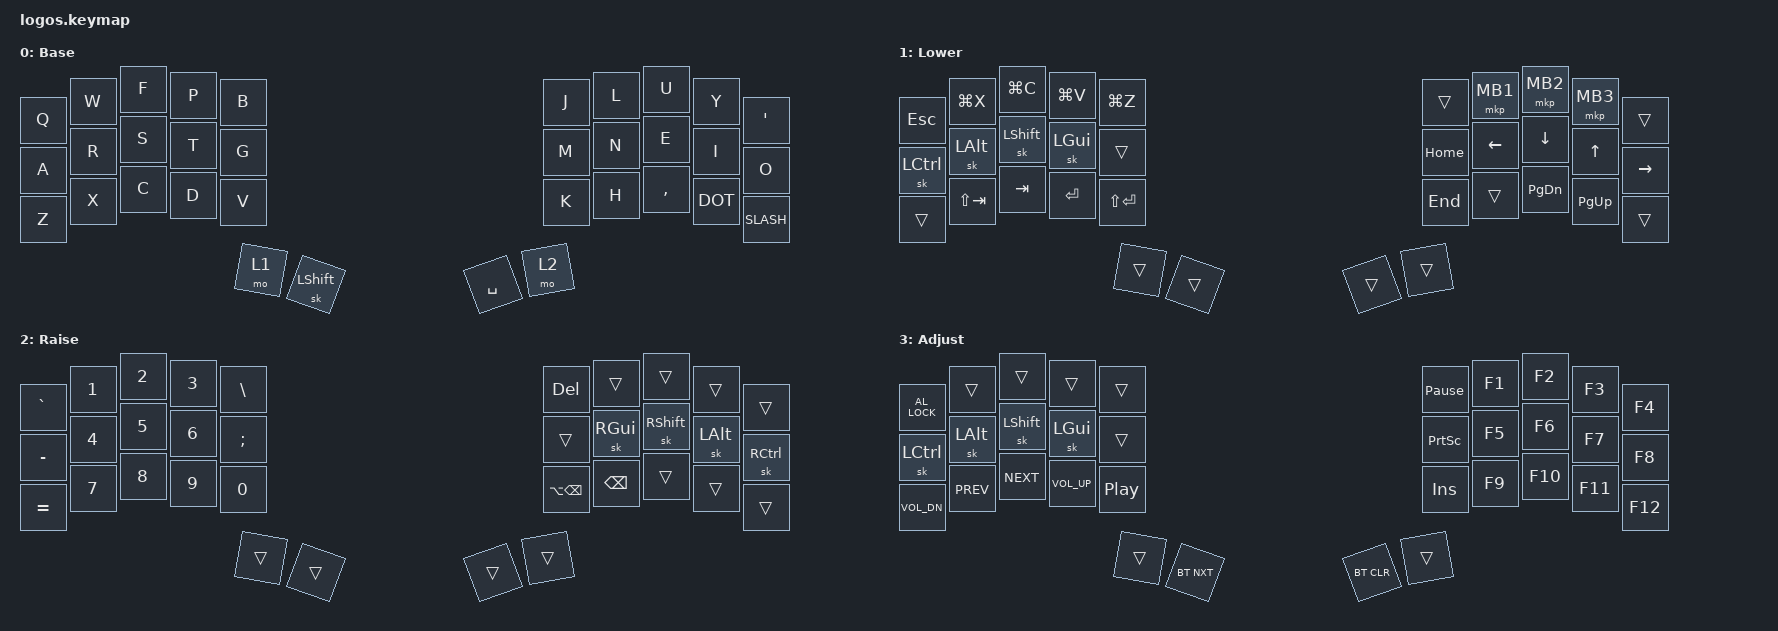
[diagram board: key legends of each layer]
#include <behaviors.dtsi>
#include <dt-bindings/zmk/keys.h>
#include <dt-bindings/zmk/pointing.h>

/ {
    colemak-dh {
        compatible = "zmk,keymap";

        default_layer {
            display-name = "Base";
            bindings = <
                &kp Q   &kp W   &kp F   &kp P   &kp B       &kp J   &kp L   &kp U   &kp Y   &kp APOS
                &kp A   &kp R   &kp S   &kp T   &kp G       &kp M   &kp N   &kp E   &kp I   &kp O
                &kp Z   &kp X   &kp C   &kp D   &kp V       &kp K   &kp H   &kp COMMA    &DOT   &SLASH
                                &mo 1   &sk LSHFT      &kp SPACE   &mo 2
            >;
        };

        lower_layer {
            display-name = "Lower";
            bindings = <
                &kp ESC &kp LG(X) &kp LG(C)    &kp LG(V)   &kp LG(Z)           &trans  &mkp MB1  &mkp MB2  &mkp MB3  &trans
                &sk LCTRL   &sk LALT    &sk LSHFT  &sk LGUI &trans             &kp HOME &kp LEFT &kp DOWN &kp UP &kp RIGHT
                &trans &kp LS(TAB) &kp TAB &kp RET &kp LS(RET)                 &kp END &trans &kp PG_DN &kp PG_UP &trans
                                                          &trans &trans        &trans &trans
            >;
        };

        raise_layer {
            display-name = "Raise";
            bindings = <
                &kp GRAVE  &kp N1  &kp N2  &kp N3  &kp BSLH                     &kp DELETE         &trans  &trans  &trans  &trans
                &kp MINUS  &kp N4  &kp N5  &kp N6  &kp SEMI                    &trans          &sk RGUI        &sk RSHFT        &sk LALT       &sk RCTRL
                &kp EQUAL  &kp N7  &kp N8  &kp N9  &kp N0                       &kp LA(BSPC)  &kp BSPC   &trans          &trans          &trans
                                                &trans  &trans                  &trans  &trans
            >;
        };

        adjust_layer {
            display-name = "Adjust";
            bindings = <
                &kp C_AL_LOCK   &trans  &trans   &trans  &trans       &kp PAUSE_BREAK &kp F1  &kp F2  &kp F3  &kp F4
                &sk LCTRL  &sk LALT  &sk LSHFT  &sk LGUI  &trans               &kp PSCRN       &kp F5  &kp F6  &kp F7  &kp F8
                &kp C_VOL_DN  &kp C_PREV  &kp C_NEXT  &kp C_VOL_UP  &kp C_PP    &kp INS         &kp F9  &kp F10 &kp F11 &kp F12
                                                    &trans   &bt BT_NXT             &bt BT_CLR  &trans
            >;
        };

        extra_1 {
            status = "reserved";
        };

        extra_2 {
            status = "reserved";
        };

        extra_3 {
            status = "reserved";
        };

        extra_4 {
            status = "reserved";
        };
    };
};
